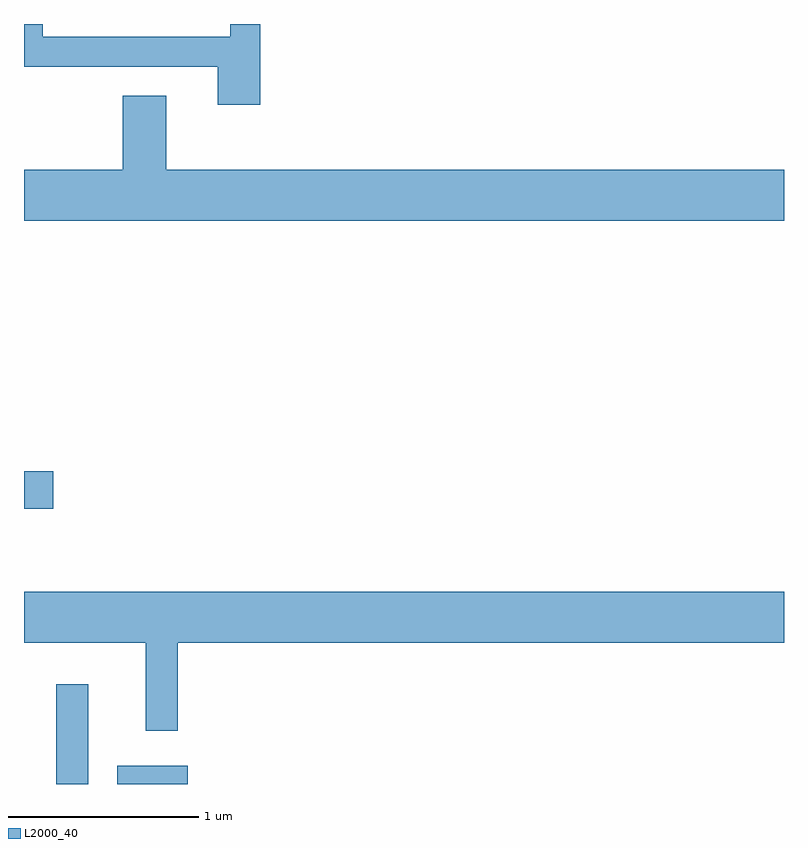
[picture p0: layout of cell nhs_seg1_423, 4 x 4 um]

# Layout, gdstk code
import gdstk
lib = gdstk.Library(unit=1e-6, precision=1e-09)
def R(c, l, rs):  # rectangles x0, y0, x1, y1
    for r in rs: c.add(gdstk.rectangle(r[:2], r[2:], *l))
def P(c, l, *ps):  # polygons
    for p in ps: c.add(gdstk.Polygon(p, *l))
L2000_40 = (2000, 40)

nhs_seg1_423 = lib.new_cell('nhs_seg1_423')
R(nhs_seg1_423, L2000_40, [(197.781,907.712,197.949,908.238), (198.101,907.712,198.474,907.809), (197.611,909.161,197.764,909.359)])
P(nhs_seg1_423, L2000_40, [(198.854,911.712),(198.696,911.712),(198.696,911.644),(197.709,911.644),(197.709,911.712),(197.611,911.712),(197.611,911.486),(198.631,911.486),(198.631,911.286),(198.854,911.286)],
  [(201.611,910.944),(198.359,910.944),(198.359,911.334),(198.131,911.334),(198.131,910.944),(197.611,910.944),(197.611,910.676),(201.611,910.676)],
  [(198.419,908.456),(201.611,908.456),(201.611,908.724),(197.611,908.724),(197.611,908.456),(198.251,908.456),(198.251,907.993),(198.419,907.993)])

lib.write_gds('nhs_seg1_423.gds')
